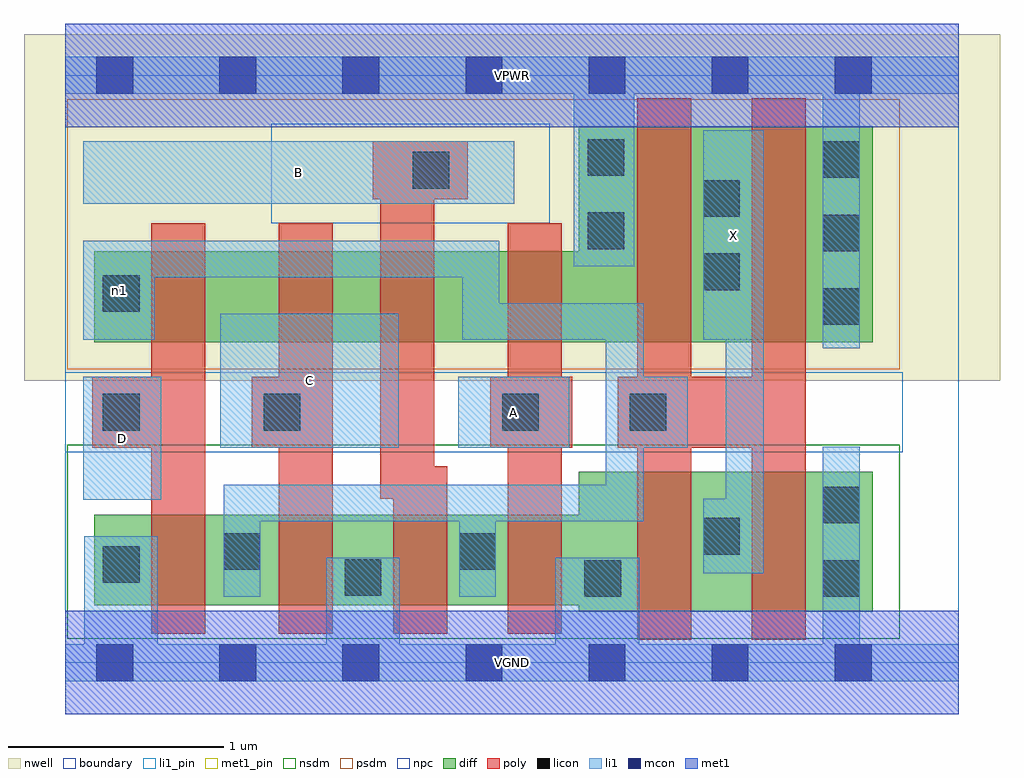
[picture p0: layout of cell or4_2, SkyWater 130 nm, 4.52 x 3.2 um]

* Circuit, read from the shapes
.subckt or4_2 A B C D VGND VPWR X n1
XM1 n1 D VGND VSUBS sky130_fd_pr__nfet_01v8 w=0.42 l=0.25
XM2 VGND C n1 VSUBS sky130_fd_pr__nfet_01v8 w=0.42 l=0.25
XM3 n1 B VGND VSUBS sky130_fd_pr__nfet_01v8 w=0.42 l=0.25
XM4 VGND A n1 VSUBS sky130_fd_pr__nfet_01v8 w=0.42 l=0.25
XM5 X n1 VGND VSUBS sky130_fd_pr__nfet_01v8 w=0.65 l=0.25 m=2
XM6 n2 D n1 n3 sky130_fd_pr__pfet_01v8 w=0.42 l=0.25
XM7 n4 C n2 n3 sky130_fd_pr__pfet_01v8 w=0.42 l=0.25
XM8 n5 B n4 n3 sky130_fd_pr__pfet_01v8 w=0.42 l=0.25
XM9 VPWR A n5 n3 sky130_fd_pr__pfet_01v8 w=0.42 l=0.25
XM10 X n1 VPWR n3 sky130_fd_pr__pfet_01v8 w=1 l=0.25 m=2
.ends

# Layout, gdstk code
import gdstk
lib = gdstk.Library(unit=1e-6, precision=1e-09)
def R(c, l, rs):  # rectangles x0, y0, x1, y1
    for r in rs: c.add(gdstk.rectangle(r[:2], r[2:], *l))
def A(c, l, x, y, w, h, nx, ny, dx, dy):  # array of equal rectangles
    R(c, l, [(x+i*dx, y+j*dy, x+i*dx+w, y+j*dy+h) for i in range(nx) for j in range(ny)])
nwell = (64, 20)
diff = (65, 20)
poly = (66, 20)
licon = (66, 44)
li1_pin = (67, 16)
li1 = (67, 20)
mcon = (67, 44)
met1_pin = (68, 16)
met1 = (68, 20)
nsdm = (93, 44)
psdm = (94, 20)
npc = (95, 20)
boundary = (235, 4)

or4_2 = lib.new_cell('or4_2')
R(or4_2, nwell, [(-0.19,1.305,4.33,2.91), (0,1.305,4.14,2.91)])
R(or4_2, diff, [(2.38,0.235,3.74,0.885), (0.135,0.265,3.74,0.685), (0.135,1.485,3.74,1.905), (2.38,1.485,3.74,2.485)])
R(or4_2, poly, [(2.65,0.105,2.9,2.615), (3.18,0.105,3.43,2.615), (0.4,0.135,0.65,2.035), (0.99,0.135,1.24,2.035), (1.52,0.135,1.77,0.91), (2.05,0.135,2.3,2.035), (1.46,0.76,1.71,2.415), (0.125,0.995,0.65,1.325), (0.865,0.995,1.24,1.325), (1.97,0.995,2.35,1.325), (2.56,0.995,3.43,1.325), (1.425,2.145,1.865,2.415)])
A(or4_2, licon, 3.51, 1.565, 0.17, 0.17, 1, 3, 0, 0.34)
R(or4_2, licon, [(2.405,0.305,2.575,0.475), (3.51,0.305,3.68,0.475), (1.295,0.31,1.465,0.48), (0.175,0.37,0.345,0.54), (0.735,0.43,0.905,0.6), (1.825,0.43,1.995,0.6), (2.955,0.5,3.125,0.67), (3.51,0.645,3.68,0.815), (0.175,1.075,0.345,1.245), (0.92,1.075,1.09,1.245), (2.025,1.075,2.195,1.245), (2.615,1.075,2.785,1.245), (0.175,1.625,0.345,1.795), (2.955,1.725,3.125,1.895), (2.42,1.915,2.59,2.085), (2.955,2.065,3.125,2.235), (1.61,2.195,1.78,2.365), (2.42,2.255,2.59,2.425)])
R(or4_2, li1_pin, [(0.085,0.755,0.445,1.325), (0.72,0.995,1.545,1.615), (1.82,0.995,2.335,1.325), (2.955,1.495,3.235,2.465), (0.085,2.125,2.08,2.415)])
R(or4_2, li1, [(0,-0.085,4.14,0.085), (0.09,-0.085,0.43,0.585), (1.21,-0.085,1.55,0.485), (2.27,-0.085,2.66,0.485), (3.51,-0.085,3.68,1), (0.735,0.305,0.905,0.825), (1.825,0.305,1.995,0.825), (2.955,0.415,3.235,0.76), (3.06,0.415,3.235,2.465), (0.735,0.655,2.68,0.825), (2.505,0.655,2.68,1.665), (0.085,0.755,0.445,1.325), (0.72,0.995,1.545,1.615), (1.82,0.995,2.335,1.325), (2.505,0.995,2.885,1.325), (3.51,1.455,3.68,2.805), (0.085,1.495,0.415,1.955), (1.84,1.495,2.68,1.665), (1.84,1.495,2.01,1.955), (2.955,1.495,3.235,2.465), (0.085,1.785,2.01,1.955), (2.355,1.835,2.635,2.805), (0.085,2.125,2.08,2.415), (0,2.635,4.14,2.805)])
A(or4_2, mcon, 0.145, -0.085, 0.17, 0.17, 7, 2, 0.57, 2.72)
R(or4_2, met1_pin, [(0,-0.24,4.14,0.24), (0,2.48,4.14,2.96)])
R(or4_2, met1, [(0,-0.24,4.14,0.24), (0,2.48,4.14,2.96)])
R(or4_2, nsdm, [(0.01,0.11,3.865,1.01)])
R(or4_2, psdm, [(0.01,1.36,3.865,2.61)])
R(or4_2, npc, [(0,0.975,3.88,1.345), (0.955,2.035,2.245,2.495)])
R(or4_2, boundary, [(0,0,4.14,2.72)])
or4_2.add(gdstk.Label('A', (2.077,1.16), layer=67, texttype=5))
or4_2.add(gdstk.Label('B', (1.082,2.27), layer=67, texttype=5))
or4_2.add(gdstk.Label('C', (1.132,1.305), layer=67, texttype=5))
or4_2.add(gdstk.Label('D', (0.265,1.04), layer=67, texttype=5))
or4_2.add(gdstk.Label('X', (3.095,1.98), layer=67, texttype=5))
or4_2.add(gdstk.Label('n1', (0.25,1.725), layer=67, texttype=5))
or4_2.add(gdstk.Label('VPWR', (2.07,2.72), layer=68, texttype=5))
or4_2.add(gdstk.Label('VGND', (2.07,0), layer=68, texttype=5))
or4_2.add(gdstk.Label('A', (2.077,1.16), layer=67, texttype=16))
or4_2.add(gdstk.Label('B', (1.082,2.27), layer=67, texttype=16))
or4_2.add(gdstk.Label('C', (1.132,1.305), layer=67, texttype=16))
or4_2.add(gdstk.Label('D', (0.265,1.04), layer=67, texttype=16))
or4_2.add(gdstk.Label('X', (3.095,1.98), layer=67, texttype=16))
or4_2.add(gdstk.Label('VPWR', (2.07,2.72), layer=68, texttype=16))
or4_2.add(gdstk.Label('VGND', (2.07,0), layer=68, texttype=16))

lib.write_gds('or4_2.gds')
